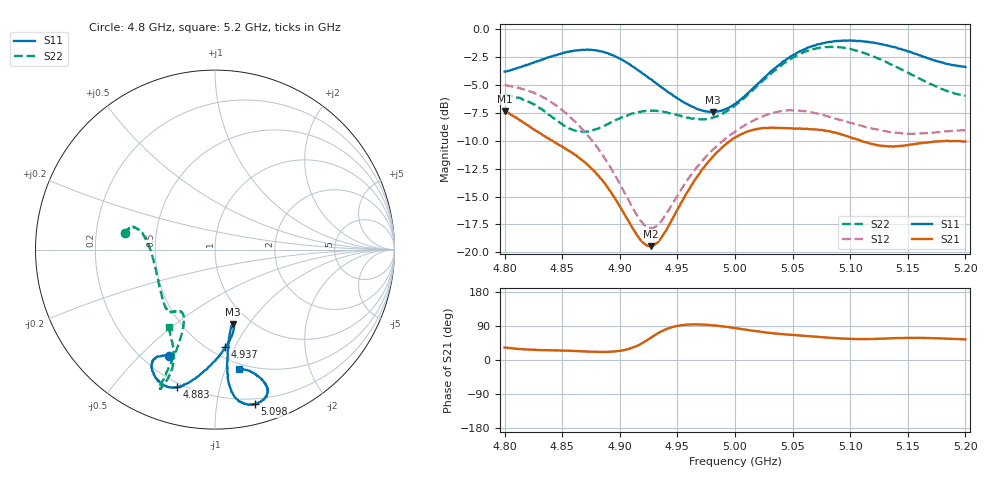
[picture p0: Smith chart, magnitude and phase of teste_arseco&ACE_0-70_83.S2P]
! Network Analyzer HP8722D
! Hewlett-Packard
! Data name: Linha & Wilkinson
! Saver's name: Rodrigo Anjos
! Comments: Teste da utilização de aquisição
! continua pelo VNA HP8722D
! Time and date: 8/5/2025 13:27
!  Frequency  S11  S21  S12  S22
# HZ  S  MA R 50
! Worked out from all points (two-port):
!   401 points, 4.8 GHz to 5.2 GHz, reference 50 ohm
!   highest |S21| = -7.34 dB at 4.8 GHz (marker M1); lowest = -19.4 dB at 4.927 GHz (marker M2)
!   |S21| within 3 dB of the highest: 4.992 GHz to 5.121 GHz (129.5 MHz wide, 2.56 % of centre); 5.153 GHz to end of sweep (the widest 2 of 3)
!   lowest |S11| = -7.4 dB at 4.981 GHz (marker M3), VSWR 2.48, Z = 41.7 - j42.2 ohm
!   |S11| at or under -10 dB: nowhere
!   |S22| runs from -9.2 to -1.6 dB; largest |S21 - S12| = 0.57
!   S11 on the Smith chart (normalised r, x): 4.8 GHz: 0.30, -0.61; 4.883 GHz: 0.18, -0.74; 4.937 GHz: 0.59, -0.92; 5.098 GHz: 0.16, -1.28; 5.2 GHz: 0.46, -1.12
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4.8e9  0.6451 -113.5  0.4296 33.0  0.5618 63.2  0.5087 169.8
4.819e9  0.6923 -118.8  0.3733 27.6  0.5327 61.2  0.4801 164.9
4.832e9  0.7295 -118.8  0.3384 26.4  0.4993 59.6  0.4404 165.5
4.848e9  0.7736 -116.0  0.3012 25.1  0.4424 59.2  0.381 173.2
4.867e9  0.8074 -110.6  0.2599 22.9  0.3579 60.9  0.3472 -167.6
4.883e9  0.7946 -105.6  0.2149 21.4  0.2825 64.2  0.3626 -150.5
4.898e9  0.7466 -100.5  0.1674 23.4  0.2115 71.2  0.3946 -138.4
4.916e9  0.6539 -93.1  0.1174 38.8  0.1434 91.9  0.4249 -130.1
4.927e9  0.5953 -88.1  0.1065 58.7  0.1286 114.2  0.4311 -127.1
4.934e9  0.5602 -85.0  0.1128 72.0  0.1347 128.6  0.428 -126.0
4.937e9  0.5451 -83.9  0.1183 76.7  0.14 133.9  0.4277 -125.4
4.961e9  0.455 -76.7  0.1945 93.6  0.2195 154.5  0.3992 -121.0
4.981e9  0.4256 -76.4  0.2688 91.4  0.2892 157.2  0.4015 -116.3
5e9  0.4627 -79.4  0.3266 84.2  0.3481 157.1  0.4546 -112.6
5.033e9  0.6572 -84.0  0.3626 70.6  0.4211 154.7  0.6436 -111.1
5.055e9  0.7903 -83.4  0.3586 65.1  0.4321 153.1  0.768 -111.7
5.067e9  0.8388 -81.9  0.356 62.4  0.4235 152.9  0.8108 -111.9
5.098e9  0.8889 -75.4  0.3308 55.9  0.3831 155.4  0.8193 -111.1
5.118e9  0.872 -71.4  0.3065 55.5  0.36 158.6  0.7613 -110.0
5.134e9  0.842 -69.6  0.2988 57.2  0.3463 161.5  0.6998 -109.8
5.159e9  0.7672 -70.3  0.3075 58.4  0.3403 166.8  0.6042 -112.3
5.2e9  0.6768 -78.5  0.3135 54.5  0.3526 172.5  0.502 -120.9
